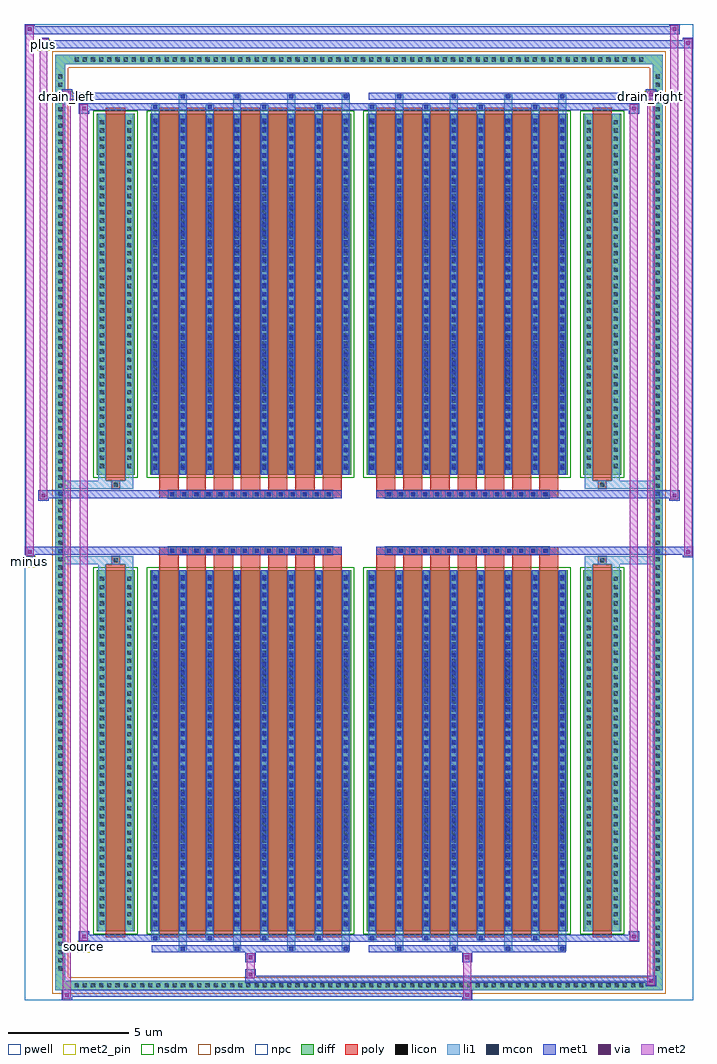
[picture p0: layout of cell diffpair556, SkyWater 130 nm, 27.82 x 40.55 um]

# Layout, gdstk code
import gdstk
lib = gdstk.Library(unit=1e-6, precision=5e-09)
def R(c, l, rs):  # rectangles x0, y0, x1, y1
    for r in rs: c.add(gdstk.rectangle(r[:2], r[2:], *l))
def A(c, l, x, y, w, h, nx, ny, dx, dy):  # array of equal rectangles
    R(c, l, [(x+i*dx, y+j*dy, x+i*dx+w, y+j*dy+h) for i in range(nx) for j in range(ny)])
def P(c, l, *ps):  # polygons
    for p in ps: c.add(gdstk.Polygon(p, *l))
pwell = (64, 44)
diff = (65, 20)
poly = (66, 20)
licon = (66, 44)
li1 = (67, 20)
mcon = (67, 44)
met1 = (68, 20)
via = (68, 44)
met2_pin = (69, 16)
met2 = (69, 20)
nsdm = (93, 44)
psdm = (94, 20)
npc = (95, 20)

diffpair556 = lib.new_cell('diffpair556')
R(diffpair556, pwell, [(-13.89,-19.84,13.89,20.71), (-11.21,-18.03,-0.01,-0.805), (0.01,-18.03,11.21,-0.805), (-11.21,0.805,-0.01,18.03), (0.01,0.805,11.21,18.03)])
A(diffpair556, diff, -11.935, -19.44, 0.41, 0.41, 70, 2, 0.34, 38.47)
A(diffpair556, diff, -12.62, -18.735, 0.41, 0.41, 1, 110, 0, 0.34)
A(diffpair556, diff, 12.21, -18.735, 0.41, 0.41, 1, 110, 0, 0.34)
R(diffpair556, diff, [(-11.935,-19.44,11.935,-19.03), (-12.62,-18.735,-12.21,18.735), (12.21,-18.735,12.62,18.735), (-10.9,-16.985,-9.32,-1.985), (-8.68,-16.985,-0.32,-1.985), (0.32,-16.985,8.68,-1.985), (9.32,-16.985,10.9,-1.985), (-10.9,1.985,-9.32,16.985), (-8.68,1.985,-0.32,16.985), (0.32,1.985,8.68,16.985), (9.32,1.985,10.9,16.985), (-11.935,19.03,11.935,19.44)])
P(diffpair556, diff, [(12.62,19.44),(-12.62,19.44),(-12.62,-19.03),(-12.21,-19.03),(-12.21,19.03),(12.21,19.03),(12.21,-19.03),(-12.21,-19.03),(-12.62,-19.03),(-12.62,-19.44),(12.62,-19.44)])
A(diffpair556, poly, -8.29, -17.235, 0.8, 15.5, 7, 2, 1.13, 18.97)
A(diffpair556, poly, 0.71, -17.235, 0.8, 15.5, 7, 2, 1.13, 18.97)
A(diffpair556, poly, -8.29, -1.735, 0.8, 0.4, 7, 2, 1.13, 3.07)
A(diffpair556, poly, 0.71, -1.735, 0.8, 0.4, 7, 2, 1.13, 3.07)
A(diffpair556, poly, -7.915, -1.335, 0.33, 0.33, 14, 2, 0.5, 2.34)
A(diffpair556, poly, 1.085, -1.335, 0.33, 0.33, 14, 2, 0.5, 2.34)
R(diffpair556, poly, [(-10.51,-17.235,-9.71,-1.735), (9.71,-17.235,10.51,-1.735), (-10.275,-1.735,-9.945,-1.405), (-10.275,-1.735,-9.945,-1.405), (9.945,-1.735,10.275,-1.405), (9.945,-1.735,10.275,-1.405), (-8.29,-1.335,-0.71,-1.005), (0.71,-1.335,8.29,-1.005), (-8.29,1.005,-0.71,1.335), (0.71,1.005,8.29,1.335), (-10.275,1.405,-9.945,1.735), (-10.275,1.405,-9.945,1.735), (9.945,1.405,10.275,1.735), (9.945,1.405,10.275,1.735), (-10.51,1.735,-9.71,17.235), (9.71,1.735,10.51,17.235)])
A(diffpair556, licon, -11.815, -19.32, 0.17, 0.17, 70, 2, 0.34, 38.47)
A(diffpair556, licon, -12.5, -18.615, 0.17, 0.17, 1, 110, 0, 0.34)
A(diffpair556, licon, 12.33, -18.615, 0.17, 0.17, 1, 110, 0, 0.34)
A(diffpair556, licon, -10.76, -16.71, 0.17, 0.17, 1, 43, 0, 0.34)
A(diffpair556, licon, -9.63, -16.71, 0.17, 0.17, 1, 43, 0, 0.34)
A(diffpair556, licon, -8.54, -16.71, 0.17, 0.17, 8, 43, 1.13, 0.34)
A(diffpair556, licon, 0.46, -16.71, 0.17, 0.17, 8, 43, 1.13, 0.34)
A(diffpair556, licon, 9.46, -16.71, 0.17, 0.17, 1, 43, 0, 0.34)
A(diffpair556, licon, 10.59, -16.71, 0.17, 0.17, 1, 43, 0, 0.34)
A(diffpair556, licon, -7.835, -1.255, 0.17, 0.17, 14, 2, 0.5, 2.34)
A(diffpair556, licon, 1.165, -1.255, 0.17, 0.17, 14, 2, 0.5, 2.34)
A(diffpair556, licon, -10.76, 2.26, 0.17, 0.17, 1, 43, 0, 0.34)
A(diffpair556, licon, -9.63, 2.26, 0.17, 0.17, 1, 43, 0, 0.34)
A(diffpair556, licon, -8.54, 2.26, 0.17, 0.17, 8, 43, 1.13, 0.34)
A(diffpair556, licon, 0.46, 2.26, 0.17, 0.17, 8, 43, 1.13, 0.34)
A(diffpair556, licon, 9.46, 2.26, 0.17, 0.17, 1, 43, 0, 0.34)
A(diffpair556, licon, 10.59, 2.26, 0.17, 0.17, 1, 43, 0, 0.34)
R(diffpair556, licon, [(-10.195,-1.655,-10.025,-1.485), (10.025,-1.655,10.195,-1.485), (-10.195,1.485,-10.025,1.655), (10.025,1.485,10.195,1.655)])
A(diffpair556, li1, -11.895, -19.4, 0.33, 0.33, 70, 2, 0.34, 38.47)
A(diffpair556, li1, -12.58, -18.695, 0.33, 0.33, 1, 110, 0, 0.34)
A(diffpair556, li1, 12.25, -18.695, 0.33, 0.33, 1, 110, 0, 0.34)
A(diffpair556, li1, -7.49, -17.79, 0.33, 0.805, 4, 2, 2.26, 34.775)
A(diffpair556, li1, -7.41, -17.79, 0.17, 0.17, 4, 2, 2.26, 35.41)
A(diffpair556, li1, 1.51, -17.79, 0.33, 0.805, 4, 2, 2.26, 34.775)
A(diffpair556, li1, 1.59, -17.79, 0.17, 0.17, 4, 2, 2.26, 35.41)
A(diffpair556, li1, -8.62, -17.36, 0.33, 0.375, 4, 2, 2.26, 34.345)
A(diffpair556, li1, -8.54, -17.36, 0.17, 0.17, 4, 2, 2.26, 34.55)
A(diffpair556, li1, 0.38, -17.36, 0.33, 0.375, 4, 2, 2.26, 34.345)
A(diffpair556, li1, 0.46, -17.36, 0.17, 0.17, 4, 2, 2.26, 34.55)
A(diffpair556, li1, -8.62, -16.985, 0.33, 15, 8, 2, 1.13, 18.97)
A(diffpair556, li1, 0.38, -16.985, 0.33, 15, 8, 2, 1.13, 18.97)
A(diffpair556, li1, -10.84, -16.79, 0.33, 0.33, 1, 43, 0, 0.34)
A(diffpair556, li1, -9.71, -16.79, 0.33, 0.33, 1, 43, 0, 0.34)
A(diffpair556, li1, -8.62, -16.79, 0.33, 0.33, 8, 43, 1.13, 0.34)
A(diffpair556, li1, 0.38, -16.79, 0.33, 0.33, 8, 43, 1.13, 0.34)
A(diffpair556, li1, 9.38, -16.79, 0.33, 0.33, 1, 43, 0, 0.34)
A(diffpair556, li1, 10.51, -16.79, 0.33, 0.33, 1, 43, 0, 0.34)
A(diffpair556, li1, -8.54, -16.77, 0.17, 0.17, 8, 41, 1.13, 0.36)
A(diffpair556, li1, -8.54, -16.77, 0.17, 14.57, 8, 2, 1.13, 18.97)
A(diffpair556, li1, 0.46, -16.77, 0.17, 0.17, 8, 41, 1.13, 0.36)
A(diffpair556, li1, 0.46, -16.77, 0.17, 14.57, 8, 2, 1.13, 18.97)
A(diffpair556, li1, -7.915, -1.335, 0.33, 0.33, 14, 2, 0.5, 2.34)
A(diffpair556, li1, 1.085, -1.335, 0.33, 0.33, 14, 2, 0.5, 2.34)
A(diffpair556, li1, -10.84, 2.18, 0.33, 0.33, 1, 43, 0, 0.34)
A(diffpair556, li1, -9.71, 2.18, 0.33, 0.33, 1, 43, 0, 0.34)
A(diffpair556, li1, -8.62, 2.18, 0.33, 0.33, 8, 43, 1.13, 0.34)
A(diffpair556, li1, 0.38, 2.18, 0.33, 0.33, 8, 43, 1.13, 0.34)
A(diffpair556, li1, 9.38, 2.18, 0.33, 0.33, 1, 43, 0, 0.34)
A(diffpair556, li1, 10.51, 2.18, 0.33, 0.33, 1, 43, 0, 0.34)
A(diffpair556, li1, -8.54, 2.2, 0.17, 0.17, 8, 41, 1.13, 0.36)
A(diffpair556, li1, 0.46, 2.2, 0.17, 0.17, 8, 41, 1.13, 0.36)
R(diffpair556, li1, [(-12.62,-19.44,-12.21,-19.03), (-12.62,-19.44,-12.21,-19.03), (-12.21,-19.44,12.21,-19.03), (12.21,-19.44,12.62,-19.03), (12.21,-19.44,12.62,-19.03), (-12.62,-19.03,-12.21,19.03), (12.21,-19.03,12.62,19.03), (-10.84,-16.985,-10.51,-1.985), (-9.71,-16.985,-9.38,-1.985), (9.38,-16.985,9.71,-1.985), (10.51,-16.985,10.84,-1.985), (-10.84,-1.985,-10.51,-1.405), (-9.71,-1.985,-9.38,-1.405), (9.38,-1.985,9.71,-1.405), (10.51,-1.985,10.84,-1.405), (-12.62,-1.735,-10.275,-1.405), (-10.84,-1.735,-10.275,-1.405), (-10.275,-1.735,-9.945,-1.405), (-9.945,-1.735,-9.38,-1.405), (9.38,-1.735,9.945,-1.405), (9.945,-1.735,10.275,-1.405), (9.945,-1.735,12.62,-1.405), (10.275,-1.735,10.84,-1.405), (-12.62,1.405,-10.275,1.735), (-10.84,1.405,-10.275,1.735), (-10.84,1.405,-10.51,1.985), (-10.275,1.405,-9.945,1.735), (-9.945,1.405,-9.38,1.735), (-9.71,1.405,-9.38,1.985), (9.38,1.405,9.945,1.735), (9.38,1.405,9.71,1.985), (9.945,1.405,10.275,1.735), (9.945,1.405,12.62,1.735), (10.275,1.405,10.84,1.735), (10.51,1.405,10.84,1.985), (-10.84,1.985,-10.51,16.985), (-9.71,1.985,-9.38,16.985), (9.38,1.985,9.71,16.985), (10.51,1.985,10.84,16.985), (-12.62,19.03,-12.21,19.44), (-12.62,19.03,-12.21,19.44), (-12.21,19.03,12.21,19.44), (12.21,19.03,12.62,19.44), (12.21,19.03,12.62,19.44)])
A(diffpair556, mcon, -7.41, -17.79, 0.17, 0.17, 4, 2, 2.26, 35.41)
A(diffpair556, mcon, 1.59, -17.79, 0.17, 0.17, 4, 2, 2.26, 35.41)
A(diffpair556, mcon, -8.54, -17.36, 0.17, 0.17, 4, 2, 2.26, 34.55)
A(diffpair556, mcon, 0.46, -17.36, 0.17, 0.17, 4, 2, 2.26, 34.55)
A(diffpair556, mcon, -8.54, -16.77, 0.17, 0.17, 8, 41, 1.13, 0.36)
A(diffpair556, mcon, 0.46, -16.77, 0.17, 0.17, 8, 41, 1.13, 0.36)
A(diffpair556, mcon, -7.835, -1.255, 0.17, 0.17, 14, 2, 0.5, 2.34)
A(diffpair556, mcon, 1.165, -1.255, 0.17, 0.17, 14, 2, 0.5, 2.34)
A(diffpair556, mcon, -8.54, 2.2, 0.17, 0.17, 8, 41, 1.13, 0.36)
A(diffpair556, mcon, 0.46, 2.2, 0.17, 0.17, 8, 41, 1.13, 0.36)
A(diffpair556, met1, -7.47, -17.85, 0.29, 0.29, 4, 2, 2.26, 35.41)
A(diffpair556, met1, 1.53, -17.85, 0.29, 0.29, 4, 2, 2.26, 35.41)
A(diffpair556, met1, -8.6, -17.42, 0.29, 0.29, 4, 2, 2.26, 34.55)
A(diffpair556, met1, 0.4, -17.42, 0.29, 0.29, 4, 2, 2.26, 34.55)
A(diffpair556, met1, -8.6, -16.985, 0.29, 15, 8, 2, 1.13, 18.97)
A(diffpair556, met1, 0.4, -16.985, 0.29, 15, 8, 2, 1.13, 18.97)
A(diffpair556, met1, -8.6, -16.83, 0.29, 0.29, 8, 41, 1.13, 0.36)
A(diffpair556, met1, 0.4, -16.83, 0.29, 0.29, 8, 41, 1.13, 0.36)
A(diffpair556, met1, -7.895, -1.315, 0.29, 0.29, 14, 2, 0.5, 2.34)
A(diffpair556, met1, 1.105, -1.315, 0.29, 0.29, 14, 2, 0.5, 2.34)
A(diffpair556, met1, -8.6, 2.14, 0.29, 0.29, 8, 41, 1.13, 0.36)
A(diffpair556, met1, 0.4, 2.14, 0.29, 0.29, 8, 41, 1.13, 0.36)
R(diffpair556, met1, [(-12.35,-19.84,-11.92,-19.41), (4.285,-19.84,4.715,-19.41), (-12.35,-19.7,4.715,-19.41), (11.92,-19.27,12.35,-18.84), (-4.715,-19.13,12.35,-18.84), (-4.715,-18.99,-4.285,-18.56), (-4.715,-18.28,-4.285,-17.85), (4.285,-18.28,4.715,-17.85), (-8.6,-17.85,-0.4,-17.56), (0.4,-17.85,8.6,-17.56), (-11.64,-17.42,-11.21,-16.99), (-11.64,-17.42,-8.6,-17.13), (-8.6,-17.42,-0.4,-17.13), (-0.4,-17.42,0.4,-17.13), (0.4,-17.42,8.6,-17.13), (8.6,-17.42,11.64,-17.13), (11.21,-17.42,11.64,-16.99), (-13.89,-1.435,-13.46,-1.005), (13.46,-1.435,13.89,-1.005), (-13.89,-1.335,-0.71,-1.005), (-8.29,-1.335,-0.71,-1.005), (0.71,-1.335,8.29,-1.005), (0.71,-1.335,13.89,-1.005), (-13.32,0.905,-12.89,1.335), (12.89,0.905,13.32,1.335), (-13.32,1.005,-8.29,1.335), (-8.29,1.005,-0.71,1.335), (0.71,1.005,8.29,1.335), (8.29,1.005,13.32,1.335), (-11.64,16.99,-11.21,17.42), (11.21,16.99,11.64,17.42), (-11.64,17.13,-8.6,17.42), (-8.6,17.13,-0.4,17.42), (-0.4,17.13,0.4,17.42), (0.4,17.13,8.6,17.42), (8.6,17.13,11.64,17.42), (-12.35,17.56,-11.92,17.99), (-12.35,17.56,-8.6,17.85), (-8.6,17.56,-0.4,17.85), (0.4,17.56,8.6,17.85), (8.6,17.56,12.35,17.85), (11.92,17.56,12.35,17.99), (-13.32,19.71,-12.89,20.14), (-13.32,19.71,-11.21,20.04), (-11.21,19.71,11.21,20.04), (11.21,19.71,13.89,20.04), (13.46,19.71,13.89,20.14), (-13.89,20.28,-13.46,20.71), (-13.89,20.28,-11.21,20.61), (-11.21,20.28,11.21,20.61), (11.21,20.28,13.32,20.61), (12.89,20.28,13.32,20.71)])
R(diffpair556, via, [(-12.21,-19.7,-12.06,-19.55), (4.425,-19.7,4.575,-19.55), (12.06,-19.13,12.21,-18.98), (-4.575,-18.85,-4.425,-18.7), (-4.575,-18.14,-4.425,-17.99), (4.425,-18.14,4.575,-17.99), (-11.5,-17.28,-11.35,-17.13), (11.35,-17.28,11.5,-17.13), (-13.75,-1.295,-13.6,-1.145), (13.6,-1.295,13.75,-1.145), (-13.18,1.045,-13.03,1.195), (13.03,1.045,13.18,1.195), (-11.5,17.13,-11.35,17.28), (11.35,17.13,11.5,17.28), (-12.21,17.7,-12.06,17.85), (12.06,17.7,12.21,17.85), (-13.18,19.85,-13.03,20), (13.6,19.85,13.75,20), (-13.75,20.42,-13.6,20.57), (13.03,20.42,13.18,20.57)])
R(diffpair556, met2_pin, [(-11.675,-17.87,-11.175,-17.37), (-13.925,-1.885,-13.425,-1.385), (-12.385,17.44,-11.885,17.94), (11.885,17.44,12.385,17.94), (-13.355,19.59,-12.855,20.09)])
R(diffpair556, met2, [(-12.3,-19.79,-11.97,-19.46), (-12.3,-19.79,-11.97,17.94), (4.335,-19.79,4.665,-19.46), (4.335,-19.46,4.665,-18.23), (11.97,-19.22,12.3,-18.89), (11.97,-19.22,12.3,17.94), (-4.665,-18.94,-4.335,-18.61), (-4.665,-18.61,-4.335,-18.23), (-4.665,-18.23,-4.335,-17.9), (4.335,-18.23,4.665,-17.9), (-11.59,-17.37,-11.26,-17.04), (-11.59,-17.37,-11.26,17.37), (11.26,-17.37,11.59,-17.04), (11.26,-17.37,11.59,17.37), (-13.84,-1.385,-13.51,-1.055), (-13.84,-1.385,-13.51,20.66), (13.51,-1.385,13.84,-1.055), (13.51,-1.385,13.84,20.09), (-13.27,0.955,-12.94,1.285), (-13.27,0.955,-12.94,20.09), (12.94,0.955,13.27,1.285), (12.94,0.955,13.27,20.66), (-11.59,17.04,-11.26,17.37), (11.26,17.04,11.59,17.37), (-12.3,17.61,-11.97,17.94), (11.97,17.61,12.3,17.94), (-13.27,19.76,-12.94,20.09), (13.51,19.76,13.84,20.09), (-13.84,20.33,-13.51,20.66), (12.94,20.33,13.27,20.66)])
P(diffpair556, met2, [(13.84,-1.385),(13.84,-1.385),(13.84,-1.055),(13.84,-1.055)],
  [(13.84,19.76),(13.84,19.76),(13.84,20.09),(13.84,20.09)],
  [(-13.51,-1.385),(-13.51,-1.385),(-13.51,-1.055),(-13.51,-1.055)],
  [(-13.51,20.33),(-13.51,20.33),(-13.51,20.66),(-13.51,20.66)],
  [(13.27,0.955),(13.27,0.955),(13.27,1.285),(13.27,1.285)],
  [(13.27,20.33),(13.27,20.33),(13.27,20.66),(13.27,20.66)],
  [(-12.94,0.955),(-12.94,0.955),(-12.94,1.285),(-12.94,1.285)],
  [(-12.94,19.76),(-12.94,19.76),(-12.94,20.09),(-12.94,20.09)],
  [(-11.97,-19.79),(-11.97,-19.79),(-11.97,-19.46),(-11.97,-19.46)],
  [(-11.97,17.61),(-11.97,17.61),(-11.97,17.94),(-11.97,17.94)],
  [(12.3,-19.22),(12.3,-19.22),(12.3,-18.89),(12.3,-18.89)],
  [(12.3,17.61),(12.3,17.61),(12.3,17.94),(12.3,17.94)],
  [(-11.26,-17.37),(-11.26,-17.37),(-11.26,-17.04),(-11.26,-17.04)],
  [(-11.26,17.04),(-11.26,17.04),(-11.26,17.37),(-11.26,17.37)],
  [(11.59,-17.37),(11.59,-17.37),(11.59,-17.04),(11.59,-17.04)],
  [(11.59,17.04),(11.59,17.04),(11.59,17.37),(11.59,17.37)])
R(diffpair556, nsdm, [(-11.03,-17.115,-9.19,-1.855), (-8.81,-17.115,-0.19,-1.855), (0.19,-17.115,8.81,-1.855), (9.19,-17.115,11.03,-1.855), (-11.03,1.855,-9.19,17.115), (-8.81,1.855,-0.19,17.115), (0.19,1.855,8.81,17.115), (9.19,1.855,11.03,17.115)])
P(diffpair556, psdm, [(12.75,19.57),(-12.75,19.57),(-12.75,-18.9),(-12.08,-18.9),(-12.08,18.9),(12.08,18.9),(12.08,-18.9),(-12.08,-18.9),(-12.75,-18.9),(-12.75,-19.57),(12.75,-19.57)])
A(diffpair556, npc, -7.935, -1.355, 0.37, 0.37, 14, 2, 0.5, 2.34)
A(diffpair556, npc, 1.065, -1.355, 0.37, 0.37, 14, 2, 0.5, 2.34)
R(diffpair556, npc, [(-10.295,-1.755,-9.925,-1.385), (9.925,-1.755,10.295,-1.385), (-7.935,-1.355,-7.065,-0.985), (-7.935,-1.355,-7.065,-0.985), (-7.435,-1.355,-6.565,-0.985), (-7.435,-1.355,-6.565,-0.985), (-6.935,-1.355,-6.065,-0.985), (-6.935,-1.355,-6.065,-0.985), (-6.435,-1.355,-5.565,-0.985), (-6.435,-1.355,-5.565,-0.985), (-5.935,-1.355,-5.065,-0.985), (-5.935,-1.355,-5.065,-0.985), (-5.435,-1.355,-4.565,-0.985), (-5.435,-1.355,-4.565,-0.985), (-4.935,-1.355,-4.065,-0.985), (-4.935,-1.355,-4.065,-0.985), (-4.435,-1.355,-3.565,-0.985), (-4.435,-1.355,-3.565,-0.985), (-3.935,-1.355,-3.065,-0.985), (-3.935,-1.355,-3.065,-0.985), (-3.435,-1.355,-2.565,-0.985), (-3.435,-1.355,-2.565,-0.985), (-2.935,-1.355,-2.065,-0.985), (-2.935,-1.355,-2.065,-0.985), (-2.435,-1.355,-1.565,-0.985), (-2.435,-1.355,-1.565,-0.985), (-1.935,-1.355,-1.065,-0.985), (-1.935,-1.355,-1.065,-0.985), (1.065,-1.355,1.935,-0.985), (1.065,-1.355,1.935,-0.985), (1.565,-1.355,2.435,-0.985), (1.565,-1.355,2.435,-0.985), (2.065,-1.355,2.935,-0.985), (2.065,-1.355,2.935,-0.985), (2.565,-1.355,3.435,-0.985), (2.565,-1.355,3.435,-0.985), (3.065,-1.355,3.935,-0.985), (3.065,-1.355,3.935,-0.985), (3.565,-1.355,4.435,-0.985), (3.565,-1.355,4.435,-0.985), (4.065,-1.355,4.935,-0.985), (4.065,-1.355,4.935,-0.985), (4.565,-1.355,5.435,-0.985), (4.565,-1.355,5.435,-0.985), (5.065,-1.355,5.935,-0.985), (5.065,-1.355,5.935,-0.985), (5.565,-1.355,6.435,-0.985), (5.565,-1.355,6.435,-0.985), (6.065,-1.355,6.935,-0.985), (6.065,-1.355,6.935,-0.985), (6.565,-1.355,7.435,-0.985), (6.565,-1.355,7.435,-0.985), (7.065,-1.355,7.935,-0.985), (7.065,-1.355,7.935,-0.985), (-7.935,0.985,-7.065,1.355), (-7.935,0.985,-7.065,1.355), (-7.435,0.985,-6.565,1.355), (-7.435,0.985,-6.565,1.355), (-6.935,0.985,-6.065,1.355), (-6.935,0.985,-6.065,1.355), (-6.435,0.985,-5.565,1.355), (-6.435,0.985,-5.565,1.355), (-5.935,0.985,-5.065,1.355), (-5.935,0.985,-5.065,1.355), (-5.435,0.985,-4.565,1.355), (-5.435,0.985,-4.565,1.355), (-4.935,0.985,-4.065,1.355), (-4.935,0.985,-4.065,1.355), (-4.435,0.985,-3.565,1.355), (-4.435,0.985,-3.565,1.355), (-3.935,0.985,-3.065,1.355), (-3.935,0.985,-3.065,1.355), (-3.435,0.985,-2.565,1.355), (-3.435,0.985,-2.565,1.355), (-2.935,0.985,-2.065,1.355), (-2.935,0.985,-2.065,1.355), (-2.435,0.985,-1.565,1.355), (-2.435,0.985,-1.565,1.355), (-1.935,0.985,-1.065,1.355), (-1.935,0.985,-1.065,1.355), (1.065,0.985,1.935,1.355), (1.065,0.985,1.935,1.355), (1.565,0.985,2.435,1.355), (1.565,0.985,2.435,1.355), (2.065,0.985,2.935,1.355), (2.065,0.985,2.935,1.355), (2.565,0.985,3.435,1.355), (2.565,0.985,3.435,1.355), (3.065,0.985,3.935,1.355), (3.065,0.985,3.935,1.355), (3.565,0.985,4.435,1.355), (3.565,0.985,4.435,1.355), (4.065,0.985,4.935,1.355), (4.065,0.985,4.935,1.355), (4.565,0.985,5.435,1.355), (4.565,0.985,5.435,1.355), (5.065,0.985,5.935,1.355), (5.065,0.985,5.935,1.355), (5.565,0.985,6.435,1.355), (5.565,0.985,6.435,1.355), (6.065,0.985,6.935,1.355), (6.065,0.985,6.935,1.355), (6.565,0.985,7.435,1.355), (6.565,0.985,7.435,1.355), (7.065,0.985,7.935,1.355), (7.065,0.985,7.935,1.355), (-10.295,1.385,-9.925,1.755), (9.925,1.385,10.295,1.755)])
diffpair556.add(gdstk.Label('minus', (-13.675,-1.635), layer=69, texttype=5))
diffpair556.add(gdstk.Label('drain_right', (12.135,17.69), layer=69, texttype=5))
diffpair556.add(gdstk.Label('drain_left', (-12.135,17.69), layer=69, texttype=5))
diffpair556.add(gdstk.Label('source', (-11.425,-17.62), layer=69, texttype=5))
diffpair556.add(gdstk.Label('plus', (-13.105,19.84), layer=69, texttype=5))

lib.write_gds('diffpair556.gds')
